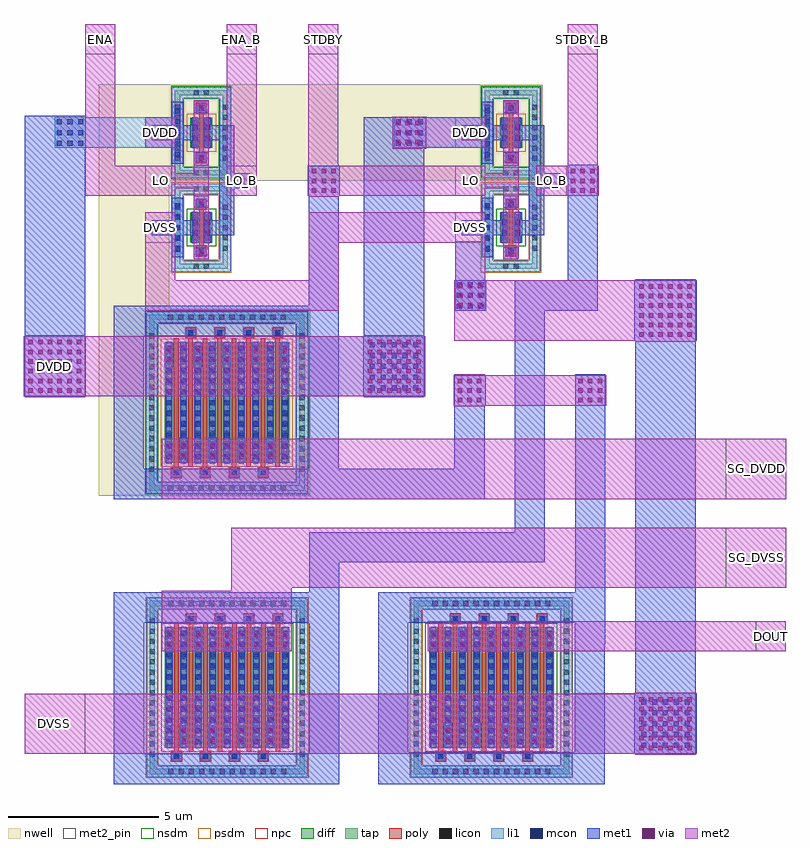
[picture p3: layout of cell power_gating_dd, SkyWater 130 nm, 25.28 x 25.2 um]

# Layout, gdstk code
import gdstk
lib = gdstk.Library(unit=1e-6, precision=1e-09)
def R(c, l, rs):  # rectangles x0, y0, x1, y1
    for r in rs: c.add(gdstk.rectangle(r[:2], r[2:], *l))
def A(c, l, x, y, w, h, nx, ny, dx, dy):  # array of equal rectangles
    R(c, l, [(x+i*dx, y+j*dy, x+i*dx+w, y+j*dy+h) for i in range(nx) for j in range(ny)])
nwell = (64, 20)
diff = (65, 20)
tap = (65, 44)
poly = (66, 20)
licon = (66, 44)
li1 = (67, 20)
mcon = (67, 44)
met1 = (68, 20)
via = (68, 44)
met2_pin = (69, 16)
met2 = (69, 20)
nsdm = (93, 44)
psdm = (94, 20)
npc = (95, 20)

power_gating_dd = lib.new_cell('power_gating_dd')
R(power_gating_dd, nwell, [(9,-22.25,10.5,-16.1), (10.5,-22.25,16.01,-16.06), (9,-16.1,11.35,-8.6), (11.35,-11.8,13.46,-8.61), (13.45,-11.8,21.62,-8.6), (21.62,-11.8,23.73,-8.61)])
R(power_gating_dd, diff, [(11.2,-30.6,15.33,-26.6), (19.96,-30.6,24.09,-26.6), (11.19,-21.155,15.32,-17.155), (12.04,-13.85,12.77,-12.85), (22.31,-13.85,23.04,-12.85), (12.04,-10.705,12.77,-9.705), (22.31,-10.705,23.04,-9.705)])
R(power_gating_dd, tap, [(10.69,-31.47,15.84,-31.3), (19.45,-31.47,24.6,-31.3), (10.69,-31.3,10.86,-25.9), (15.67,-31.3,15.84,-25.9), (19.45,-31.3,19.62,-25.9), (24.43,-31.3,24.6,-25.9), (10.69,-25.9,15.84,-25.73), (19.45,-25.9,24.6,-25.73), (10.68,-22.07,15.83,-21.9), (10.68,-21.9,10.85,-16.41), (15.66,-21.9,15.83,-16.41), (10.68,-16.41,15.83,-16.24), (11.53,-14.72,13.28,-14.55), (21.8,-14.72,23.55,-14.55), (11.53,-14.55,11.7,-12.15), (13.11,-14.55,13.28,-12.15), (21.8,-14.55,21.97,-12.15), (23.38,-14.55,23.55,-12.15), (11.53,-12.15,13.28,-11.98), (21.8,-12.15,23.55,-11.98), (11.53,-11.62,13.28,-11.45), (21.8,-11.62,23.55,-11.45), (11.53,-11.45,11.7,-8.96), (13.11,-11.45,13.28,-8.96), (21.8,-11.45,21.97,-8.96), (23.38,-11.45,23.55,-8.96), (11.53,-8.96,13.28,-8.79), (21.8,-8.96,23.55,-8.79)])
A(power_gating_dd, poly, 11.42, -31.04, 0.33, 0.33, 4, 1, 0.96, 0)
A(power_gating_dd, poly, 20.18, -31.04, 0.33, 0.33, 4, 1, 0.96, 0)
A(power_gating_dd, poly, 11.99, -30.73, 0.15, 4.24, 4, 1, 0.96, 0)
A(power_gating_dd, poly, 20.75, -30.73, 0.15, 4.24, 4, 1, 0.96, 0)
A(power_gating_dd, poly, 11.51, -30.71, 0.15, 4.24, 4, 1, 0.96, 0)
A(power_gating_dd, poly, 20.27, -30.71, 0.15, 4.24, 4, 1, 0.96, 0)
A(power_gating_dd, poly, 11.9, -26.49, 0.33, 0.33, 4, 1, 0.96, 0)
A(power_gating_dd, poly, 20.66, -26.49, 0.33, 0.33, 4, 1, 0.96, 0)
A(power_gating_dd, poly, 11.41, -21.64, 0.33, 0.33, 4, 1, 0.96, 0)
A(power_gating_dd, poly, 11.5, -21.31, 0.15, 4.285, 4, 1, 0.96, 0)
A(power_gating_dd, poly, 11.98, -21.285, 0.15, 4.285, 4, 1, 0.96, 0)
A(power_gating_dd, poly, 11.89, -17, 0.33, 0.33, 4, 1, 0.96, 0)
A(power_gating_dd, poly, 12.24, -14.29, 0.33, 0.33, 1, 3, 0, 1.55)
A(power_gating_dd, poly, 22.51, -14.29, 0.33, 0.33, 1, 3, 0, 1.55)
R(power_gating_dd, poly, [(12.33,-13.96,12.48,-12.74), (22.6,-13.96,22.75,-12.74), (12.33,-10.86,12.48,-9.55), (22.6,-10.86,22.75,-9.55), (12.24,-9.55,12.57,-9.22), (22.51,-9.55,22.84,-9.22)])
A(power_gating_dd, licon, 11.31, -31.47, 0.17, 0.17, 12, 2, 0.34, 5.57)
A(power_gating_dd, licon, 20.07, -31.47, 0.17, 0.17, 12, 2, 0.34, 5.57)
A(power_gating_dd, licon, 11.5, -30.96, 0.17, 0.17, 4, 1, 0.96, 0)
A(power_gating_dd, licon, 20.26, -30.96, 0.17, 0.17, 4, 1, 0.96, 0)
A(power_gating_dd, licon, 10.69, -30.895, 0.17, 0.17, 1, 14, 0, 0.34)
A(power_gating_dd, licon, 15.67, -30.895, 0.17, 0.17, 1, 14, 0, 0.34)
A(power_gating_dd, licon, 19.45, -30.895, 0.17, 0.17, 1, 14, 0, 0.34)
A(power_gating_dd, licon, 24.43, -30.895, 0.17, 0.17, 1, 14, 0, 0.34)
A(power_gating_dd, licon, 11.26, -30.385, 0.17, 0.17, 9, 11, 0.48, 0.34)
A(power_gating_dd, licon, 20.02, -30.385, 0.17, 0.17, 9, 11, 0.48, 0.34)
A(power_gating_dd, licon, 11.98, -26.41, 0.17, 0.17, 4, 1, 0.96, 0)
A(power_gating_dd, licon, 20.74, -26.41, 0.17, 0.17, 4, 1, 0.96, 0)
A(power_gating_dd, licon, 11.3, -22.07, 0.17, 0.17, 12, 2, 0.34, 5.66)
A(power_gating_dd, licon, 11.49, -21.56, 0.17, 0.17, 4, 1, 0.96, 0)
A(power_gating_dd, licon, 10.68, -21.45, 0.17, 0.17, 1, 14, 0, 0.34)
A(power_gating_dd, licon, 15.66, -21.45, 0.17, 0.17, 1, 14, 0, 0.34)
A(power_gating_dd, licon, 11.25, -20.94, 0.17, 0.17, 9, 11, 0.48, 0.34)
A(power_gating_dd, licon, 11.97, -16.92, 0.17, 0.17, 4, 1, 0.96, 0)
A(power_gating_dd, licon, 12.32, -14.21, 0.17, 0.17, 1, 3, 0, 1.55)
A(power_gating_dd, licon, 22.59, -14.21, 0.17, 0.17, 1, 3, 0, 1.55)
A(power_gating_dd, licon, 11.53, -14.115, 0.17, 0.17, 1, 5, 0, 0.34)
A(power_gating_dd, licon, 13.11, -14.115, 0.17, 0.17, 1, 5, 0, 0.34)
A(power_gating_dd, licon, 21.8, -14.115, 0.17, 0.17, 1, 5, 0, 0.34)
A(power_gating_dd, licon, 23.38, -14.115, 0.17, 0.17, 1, 5, 0, 0.34)
A(power_gating_dd, licon, 12.1, -13.775, 0.17, 0.17, 1, 3, 0, 0.34)
A(power_gating_dd, licon, 12.54, -13.775, 0.17, 0.17, 1, 3, 0, 0.34)
A(power_gating_dd, licon, 22.37, -13.775, 0.17, 0.17, 1, 3, 0, 0.34)
A(power_gating_dd, licon, 22.81, -13.775, 0.17, 0.17, 1, 3, 0, 0.34)
A(power_gating_dd, licon, 11.53, -11.14, 0.17, 0.17, 1, 6, 0, 0.34)
A(power_gating_dd, licon, 13.11, -11.14, 0.17, 0.17, 1, 6, 0, 0.34)
A(power_gating_dd, licon, 21.8, -11.14, 0.17, 0.17, 1, 6, 0, 0.34)
A(power_gating_dd, licon, 23.38, -11.14, 0.17, 0.17, 1, 6, 0, 0.34)
A(power_gating_dd, licon, 12.1, -10.63, 0.17, 0.17, 1, 3, 0, 0.34)
A(power_gating_dd, licon, 12.54, -10.63, 0.17, 0.17, 1, 3, 0, 0.34)
A(power_gating_dd, licon, 22.37, -10.63, 0.17, 0.17, 1, 3, 0, 0.34)
A(power_gating_dd, licon, 22.81, -10.63, 0.17, 0.17, 1, 3, 0, 0.34)
R(power_gating_dd, licon, [(12.15,-14.72,12.32,-14.55), (12.49,-14.72,12.66,-14.55), (22.42,-14.72,22.59,-14.55), (22.76,-14.72,22.93,-14.55), (12.15,-12.15,12.32,-11.98), (12.49,-12.15,12.66,-11.98), (22.42,-12.15,22.59,-11.98), (22.76,-12.15,22.93,-11.98), (12.15,-11.62,12.32,-11.45), (12.49,-11.62,12.66,-11.45), (22.42,-11.62,22.59,-11.45), (22.76,-11.62,22.93,-11.45), (12.32,-9.47,12.49,-9.3), (22.59,-9.47,22.76,-9.3), (12.15,-8.96,12.32,-8.79), (12.49,-8.96,12.66,-8.79), (22.42,-8.96,22.59,-8.79), (22.76,-8.96,22.93,-8.79)])
A(power_gating_dd, li1, 11.42, -30.96, 0.33, 0.17, 4, 1, 0.96, 0)
A(power_gating_dd, li1, 20.18, -30.96, 0.33, 0.17, 4, 1, 0.96, 0)
A(power_gating_dd, li1, 11.26, -30.62, 0.17, 4.04, 9, 1, 0.48, 0)
A(power_gating_dd, li1, 20.02, -30.62, 0.17, 4.04, 9, 1, 0.48, 0)
A(power_gating_dd, li1, 11.9, -26.41, 0.33, 0.17, 4, 1, 0.96, 0)
A(power_gating_dd, li1, 20.66, -26.41, 0.33, 0.17, 4, 1, 0.96, 0)
A(power_gating_dd, li1, 11.41, -21.56, 0.33, 0.17, 4, 1, 0.96, 0)
A(power_gating_dd, li1, 11.25, -21.175, 0.17, 4.04, 9, 1, 0.48, 0)
A(power_gating_dd, li1, 11.89, -16.92, 0.33, 0.17, 4, 1, 0.96, 0)
A(power_gating_dd, li1, 12.24, -14.21, 0.33, 0.17, 1, 3, 0, 1.55)
A(power_gating_dd, li1, 22.51, -14.21, 0.33, 0.17, 1, 3, 0, 1.55)
R(power_gating_dd, li1, [(10.62,-31.57,15.91,-31.54), (19.38,-31.57,24.67,-31.54), (10.59,-31.54,15.94,-31.2), (19.35,-31.54,24.7,-31.2), (10.69,-31.47,15.84,-31.3), (19.45,-31.47,24.6,-31.3), (10.69,-31.3,10.86,-25.9), (15.67,-31.3,15.84,-25.9), (19.45,-31.3,19.62,-25.9), (24.43,-31.3,24.6,-25.9), (10.59,-31.2,10.96,-26), (15.57,-31.2,15.94,-30.8), (19.35,-31.2,19.72,-30.8), (24.33,-31.2,24.7,-30.805), (24.33,-30.805,28.8,-28.795), (15.57,-30.8,19.72,-28.8), (15.57,-28.8,15.94,-26), (19.35,-28.8,19.72,-26), (24.33,-28.795,24.7,-26), (10.59,-26,15.94,-25.66), (19.35,-26,24.7,-25.66), (10.69,-25.9,15.84,-25.73), (19.45,-25.9,24.6,-25.73), (10.62,-25.66,15.91,-25.63), (19.38,-25.66,24.67,-25.63), (10.61,-22.17,15.9,-22.14), (10.58,-22.14,15.93,-21.8), (10.68,-22.07,15.83,-21.9), (10.68,-21.9,10.85,-16.41), (15.66,-21.9,15.83,-16.41), (10.58,-21.8,10.95,-16.51), (15.56,-21.8,15.93,-18.95), (15.56,-18.95,19.8,-16.95), (15.56,-16.95,15.93,-16.51), (10.58,-16.51,15.93,-16.17), (10.68,-16.41,15.83,-16.24), (10.61,-16.17,15.9,-16.14), (20.82,-16.1,21.82,-14.82), (11.46,-14.82,13.35,-14.79), (20.82,-14.82,23.62,-14.79), (11.43,-14.79,13.38,-14.45), (20.82,-14.79,23.65,-14.45), (11.53,-14.72,13.28,-14.55), (21.8,-14.72,23.55,-14.55), (11.53,-14.55,11.7,-12.15), (13.11,-14.55,13.28,-12.15), (21.8,-14.55,21.97,-12.15), (23.38,-14.55,23.55,-12.15), (11.43,-14.45,11.8,-12.25), (13.01,-14.45,13.38,-12.25), (20.82,-14.45,22.07,-13.8), (23.28,-14.45,23.65,-12.25), (11.53,-14.24,11.7,-12.46), (21.8,-14.24,21.97,-12.46), (12.1,-13.87,12.27,-12.83), (12.54,-13.87,12.71,-12.83), (22.37,-13.87,22.54,-12.83), (22.81,-13.87,22.98,-12.83), (21.7,-13.8,22.07,-12.25), (11.43,-12.25,13.38,-11.91), (21.7,-12.25,23.65,-11.91), (11.53,-12.15,13.28,-11.98), (21.8,-12.15,23.55,-11.98), (11.46,-11.91,13.35,-11.9), (21.73,-11.91,23.62,-11.9), (11.46,-11.7,13.35,-11.69), (21.73,-11.7,23.62,-11.69), (11.43,-11.69,13.38,-11.35), (21.7,-11.69,23.65,-11.35), (11.53,-11.62,13.28,-11.45), (21.8,-11.62,23.55,-11.45), (11.53,-11.45,11.7,-8.96), (13.11,-11.45,13.28,-8.96), (21.8,-11.45,21.97,-8.96), (23.38,-11.45,23.55,-8.96), (11.43,-11.35,11.8,-10.7), (13.01,-11.35,13.38,-9.06), (21.7,-11.35,22.07,-10.7), (23.28,-11.35,23.65,-9.06), (11.53,-11.14,11.7,-9.27), (21.8,-11.14,21.97,-9.27), (12.1,-10.725,12.27,-9.685), (12.54,-10.725,12.71,-9.685), (22.37,-10.725,22.54,-9.685), (22.81,-10.725,22.98,-9.685), (7.55,-10.7,11.8,-9.7), (18.8,-10.7,22.07,-9.7), (11.43,-9.7,11.8,-9.06), (21.7,-9.7,22.07,-9.06), (12.24,-9.47,12.57,-9.3), (22.51,-9.47,22.84,-9.3), (11.43,-9.06,13.38,-8.72), (21.7,-9.06,23.65,-8.72), (11.53,-8.96,13.28,-8.79), (21.8,-8.96,23.55,-8.79), (11.46,-8.72,13.35,-8.69), (21.73,-8.72,23.62,-8.69)])
A(power_gating_dd, mcon, 11.5, -30.96, 0.17, 0.17, 4, 1, 0.96, 0)
A(power_gating_dd, mcon, 20.26, -30.96, 0.17, 0.17, 4, 1, 0.96, 0)
A(power_gating_dd, mcon, 26.99, -30.605, 0.17, 0.17, 5, 5, 0.36, 0.36)
A(power_gating_dd, mcon, 11.26, -30.485, 0.17, 0.17, 9, 11, 0.48, 0.36)
A(power_gating_dd, mcon, 20.02, -30.485, 0.17, 0.17, 9, 11, 0.48, 0.36)
A(power_gating_dd, mcon, 11.98, -26.41, 0.17, 0.17, 4, 1, 0.96, 0)
A(power_gating_dd, mcon, 20.74, -26.41, 0.17, 0.17, 4, 1, 0.96, 0)
A(power_gating_dd, mcon, 11.49, -21.56, 0.17, 0.17, 4, 1, 0.96, 0)
A(power_gating_dd, mcon, 11.25, -21.04, 0.17, 0.17, 9, 11, 0.48, 0.36)
A(power_gating_dd, mcon, 17.995, -18.755, 0.17, 0.17, 5, 5, 0.36, 0.36)
A(power_gating_dd, mcon, 11.97, -16.92, 0.17, 0.17, 4, 1, 0.96, 0)
A(power_gating_dd, mcon, 20.875, -16.045, 0.17, 0.17, 3, 3, 0.36, 0.36)
A(power_gating_dd, mcon, 12.32, -14.21, 0.17, 0.17, 1, 3, 0, 1.55)
A(power_gating_dd, mcon, 22.59, -14.21, 0.17, 0.17, 1, 3, 0, 1.55)
A(power_gating_dd, mcon, 11.53, -14.155, 0.17, 0.17, 1, 5, 0, 0.36)
A(power_gating_dd, mcon, 21.8, -14.155, 0.17, 0.17, 1, 5, 0, 0.36)
A(power_gating_dd, mcon, 11.53, -11.01, 0.17, 0.17, 1, 5, 0, 0.36)
A(power_gating_dd, mcon, 21.8, -11.01, 0.17, 0.17, 1, 5, 0, 0.36)
A(power_gating_dd, mcon, 7.605, -10.645, 0.17, 0.17, 3, 3, 0.36, 0.36)
A(power_gating_dd, mcon, 18.855, -10.645, 0.17, 0.17, 3, 3, 0.36, 0.36)
R(power_gating_dd, mcon, [(12.1,-13.615,12.27,-13.445), (12.54,-13.615,12.71,-13.445), (22.37,-13.615,22.54,-13.445), (22.81,-13.615,22.98,-13.445), (12.1,-13.255,12.27,-13.085), (12.54,-13.255,12.71,-13.085), (22.37,-13.255,22.54,-13.085), (22.81,-13.255,22.98,-13.085), (12.1,-10.47,12.27,-10.3), (12.54,-10.47,12.71,-10.3), (22.37,-10.47,22.54,-10.3), (22.81,-10.47,22.98,-10.3), (12.1,-10.11,12.27,-9.94), (12.54,-10.11,12.71,-9.94), (22.37,-10.11,22.54,-9.94), (22.81,-10.11,22.98,-9.94), (12.32,-9.47,12.49,-9.3), (22.59,-9.47,22.76,-9.3)])
A(power_gating_dd, met1, 11.44, -30.99, 0.29, 0.23, 4, 1, 0.96, 0)
A(power_gating_dd, met1, 20.2, -30.99, 0.29, 0.23, 4, 1, 0.96, 0)
A(power_gating_dd, met1, 11.23, -30.6, 0.23, 4, 9, 1, 0.48, 0)
A(power_gating_dd, met1, 19.99, -30.6, 0.23, 4, 9, 1, 0.48, 0)
A(power_gating_dd, met1, 11.69, -30.59, 0.27, 0.82, 4, 1, 0.96, 0)
A(power_gating_dd, met1, 20.45, -30.59, 0.27, 0.82, 4, 1, 0.96, 0)
A(power_gating_dd, met1, 11.21, -27.43, 0.27, 0.82, 5, 1, 0.96, 0)
A(power_gating_dd, met1, 19.97, -27.43, 0.27, 0.82, 5, 1, 0.96, 0)
A(power_gating_dd, met1, 11.92, -26.44, 0.29, 0.23, 4, 1, 0.96, 0)
A(power_gating_dd, met1, 20.68, -26.44, 0.29, 0.23, 4, 1, 0.96, 0)
A(power_gating_dd, met1, 11.43, -21.59, 0.29, 0.23, 4, 1, 0.96, 0)
A(power_gating_dd, met1, 11.22, -21.155, 0.23, 4, 9, 1, 0.48, 0)
A(power_gating_dd, met1, 11.68, -21.145, 0.27, 0.82, 4, 1, 0.96, 0)
A(power_gating_dd, met1, 11.2, -17.985, 0.27, 0.82, 5, 1, 0.96, 0)
A(power_gating_dd, met1, 11.91, -16.95, 0.29, 0.23, 4, 1, 0.96, 0)
A(power_gating_dd, met1, 12.26, -14.24, 0.29, 0.23, 1, 3, 0, 1.55)
A(power_gating_dd, met1, 22.53, -14.24, 0.29, 0.23, 1, 3, 0, 1.55)
R(power_gating_dd, met1, [(9.5,-31.8,16.98,-30.8), (18.27,-31.8,25.79,-30.75), (26.79,-30.83,27.79,-30.805), (26.76,-30.805,28.83,-28.795), (9.51,-30.8,10.51,-26.45), (15.98,-30.8,16.98,-26.45), (18.27,-30.75,19.27,-26.45), (24.79,-30.75,25.79,-27.15), (26.79,-28.795,28.8,-17.105), (24.79,-27.15,25.8,-26.45), (9.51,-26.45,16.98,-25.45), (18.27,-26.45,25.8,-25.45), (15.98,-25.45,16.98,-24.45), (24.8,-25.45,25.8,-18.22), (15.98,-24.45,23.8,-23.45), (22.8,-23.45,23.8,-16.1), (9.5,-22.35,21.8,-21.35), (9.5,-21.35,10.5,-16.95), (15.97,-21.35,16.97,-16.95), (20.8,-21.35,21.8,-19.25), (20.77,-19.25,21.83,-18.25), (6.52,-18.95,8.58,-16.95), (17.77,-18.95,19.83,-16.95), (26.76,-17.105,28.83,-15.095), (6.55,-16.95,8.55,-10.76), (9.5,-16.95,16.97,-15.95), (17.8,-16.95,19.8,-10.73), (20.79,-16.1,21.85,-15.1), (22.8,-16.1,25.55,-15.1), (15.97,-15.95,16.97,-12.3), (24.55,-15.1,25.55,-11.27), (12.15,-14.4,12.65,-14), (22.42,-14.4,22.92,-14), (11.43,-14.34,11.8,-13.6), (21.7,-14.34,22.07,-13.6), (12.07,-13.85,12.3,-12.85), (12.51,-13.85,12.74,-12.85), (22.34,-13.85,22.57,-12.85), (22.78,-13.85,23.01,-12.85), (10.77,-13.6,12.25,-13.1), (12.55,-13.6,13.5,-13.1), (21.04,-13.6,22.52,-13.1), (22.82,-13.6,23.77,-13.1), (11.43,-13.1,11.8,-12.36), (13,-13.1,13.5,-12.05), (21.7,-13.1,22.07,-12.36), (23.27,-13.1,23.77,-12.05), (12.15,-12.7,12.65,-12.3), (22.42,-12.7,22.92,-12.3), (15.94,-12.3,17,-11.3), (13,-12.05,14.03,-11.55), (23.27,-12.05,24.3,-11.55), (13,-11.55,13.5,-10.455), (23.27,-11.55,23.77,-10.455), (12.15,-11.3,12.65,-10.85), (22.42,-11.3,22.92,-10.85), (11.43,-11.24,11.8,-10.45), (21.7,-11.24,22.07,-10.45), (6.55,-10.76,8.58,-9.65), (17.8,-10.73,19.86,-9.7), (12.07,-10.705,12.3,-9.705), (12.51,-10.705,12.74,-9.705), (22.34,-10.705,22.57,-9.705), (22.78,-10.705,23.01,-9.705), (12.1,-10.455,12.25,-10.45), (12.55,-10.455,13.5,-9.955), (22.37,-10.455,22.52,-10.45), (22.82,-10.455,23.77,-9.955), (10.77,-10.45,12.25,-9.955), (21.04,-10.45,22.52,-9.955), (10.77,-9.955,12.15,-9.95), (21.04,-9.955,22.42,-9.95), (11.43,-9.95,11.8,-9.17), (21.7,-9.95,22.07,-9.17), (18.74,-9.7,19.86,-9.67), (7.52,-9.65,8.58,-9.64), (12.15,-9.55,12.65,-9.15), (22.42,-9.55,22.92,-9.15), (12.26,-9.5,12.55,-9.27), (22.53,-9.5,22.82,-9.27)])
A(power_gating_dd, via, 26.92, -30.675, 0.15, 0.15, 6, 6, 0.32, 0.32)
A(power_gating_dd, via, 11.75, -30.415, 0.15, 0.15, 4, 2, 0.96, 0.32)
A(power_gating_dd, via, 20.51, -30.415, 0.15, 0.15, 4, 2, 0.96, 0.32)
A(power_gating_dd, via, 11.27, -27.255, 0.15, 0.15, 5, 2, 0.96, 0.32)
A(power_gating_dd, via, 20.03, -27.255, 0.15, 0.15, 5, 2, 0.96, 0.32)
A(power_gating_dd, via, 11.74, -20.97, 0.15, 0.15, 4, 2, 0.96, 0.32)
A(power_gating_dd, via, 20.905, -19.145, 0.15, 0.15, 3, 3, 0.32, 0.32)
A(power_gating_dd, via, 24.905, -19.145, 0.15, 0.15, 3, 3, 0.32, 0.32)
A(power_gating_dd, via, 6.675, -18.825, 0.15, 0.15, 6, 6, 0.32, 0.32)
A(power_gating_dd, via, 17.925, -18.825, 0.15, 0.15, 6, 6, 0.32, 0.32)
A(power_gating_dd, via, 11.26, -17.81, 0.15, 0.15, 5, 2, 0.96, 0.32)
A(power_gating_dd, via, 26.92, -16.975, 0.15, 0.15, 6, 6, 0.32, 0.32)
A(power_gating_dd, via, 20.925, -15.995, 0.15, 0.15, 3, 3, 0.32, 0.32)
A(power_gating_dd, via, 16.075, -12.195, 0.15, 0.15, 3, 3, 0.32, 0.32)
A(power_gating_dd, via, 24.655, -12.195, 0.15, 0.15, 3, 3, 0.32, 0.32)
A(power_gating_dd, via, 18.855, -10.595, 0.15, 0.15, 3, 3, 0.32, 0.32)
R(power_gating_dd, via, [(12.325,-14.275,12.475,-14.125), (22.595,-14.275,22.745,-14.125), (10.975,-13.425,11.125,-13.275), (21.245,-13.425,21.395,-13.275), (12.325,-12.575,12.475,-12.425), (22.595,-12.575,22.745,-12.425), (13.675,-11.875,13.825,-11.725), (23.945,-11.875,24.095,-11.725), (12.325,-11.15,12.475,-11), (22.595,-11.15,22.745,-11), (10.975,-10.275,11.125,-10.125), (21.245,-10.275,21.395,-10.125), (12.325,-9.425,12.475,-9.275), (22.595,-9.425,22.745,-9.275)])
R(power_gating_dd, met2_pin, [(6.55,-30.8,8.55,-28.8), (30.79,-27.4,31.79,-26.4), (29.8,-25.3,31.8,-23.3), (29.8,-22.35,31.8,-20.35), (6.55,-18.95,8.55,-16.95), (10.55,-13.85,11.55,-12.85), (20.82,-13.85,21.82,-12.85), (10.55,-12.3,11.55,-11.3), (13.25,-12.3,14.25,-11.3), (20.82,-12.3,21.82,-11.3), (23.52,-12.3,24.52,-11.3), (10.55,-10.7,11.55,-9.7), (20.82,-10.7,21.82,-9.7), (8.55,-7.6,9.55,-6.6), (13.25,-7.6,14.25,-6.6), (15.95,-7.6,16.95,-6.6), (24.55,-7.6,25.55,-6.6)])
R(power_gating_dd, met2, [(26.8,-30.83,28.8,-30.8), (6.55,-30.8,28.8,-28.8), (26.8,-28.8,28.8,-28.77), (11.1,-27.4,15.4,-25.4), (19.92,-27.4,31.79,-26.4), (13.4,-25.4,15.4,-25.3), (13.4,-25.3,31.8,-23.3), (11.1,-22.35,31.8,-20.35), (20.8,-19.28,21.8,-19.25), (20.8,-19.25,25.83,-18.25), (6.55,-18.98,8.55,-18.95), (17.8,-18.98,19.8,-18.95), (6.55,-18.95,19.8,-16.95), (20.8,-18.25,21.8,-18.22), (26.79,-17.135,28.8,-17.105), (20.795,-17.105,28.8,-15.095), (6.55,-16.95,8.55,-16.92), (17.8,-16.95,19.8,-16.92), (10.55,-16.1,16.97,-15.1), (10.55,-15.1,11.55,-12.85), (15.97,-15.1,16.97,-13.85), (20.82,-15.095,21.82,-13.85), (26.79,-15.095,28.8,-15.065), (12.15,-14.4,12.65,-14.375), (22.42,-14.4,22.92,-14.375), (12.15,-14.375,12.655,-14), (22.42,-14.375,22.925,-14), (12.155,-14,12.655,-12.05), (22.425,-14,22.925,-12.05), (10.55,-13.85,11.55,-12.85), (15.97,-13.85,21.82,-12.85), (20.82,-13.85,21.82,-12.85), (15.97,-12.33,16.97,-12.3), (8.55,-12.3,11.55,-11.3), (10.55,-12.3,11.55,-12.05), (13.25,-12.3,14.25,-11.3), (13.25,-12.3,14.25,-6.6), (15.95,-12.3,21.82,-11.3), (20.82,-12.3,21.82,-12.05), (23.52,-12.3,25.58,-11.3), (23.52,-12.3,24.52,-11.3), (10.55,-12.05,12.655,-11.55), (20.82,-12.05,22.925,-11.55), (10.55,-11.55,11.55,-11.3), (12.155,-11.55,12.655,-9.135), (20.82,-11.55,21.82,-11.3), (22.425,-11.55,22.925,-9.135), (8.55,-11.3,9.55,-6.6), (15.95,-11.3,16.97,-11.27), (24.55,-11.3,25.55,-6.6), (15.95,-11.27,16.95,-6.6), (18.75,-10.73,19.75,-10.7), (10.55,-10.7,11.55,-9.7), (10.55,-10.7,11.55,-9.7), (18.75,-10.7,21.77,-9.7), (20.82,-10.7,21.82,-9.7), (18.75,-9.7,19.75,-9.67)])
R(power_gating_dd, nsdm, [(11.075,-30.725,15.455,-26.475), (19.835,-30.725,24.215,-26.475), (10.555,-22.195,15.955,-21.775), (10.555,-21.775,10.975,-16.535), (15.535,-21.775,15.955,-16.535), (10.555,-16.535,15.955,-16.115), (11.915,-13.975,12.895,-12.725), (22.185,-13.975,23.165,-12.725), (11.405,-11.745,13.405,-11.325), (21.675,-11.745,23.675,-11.325), (11.405,-11.325,11.825,-9.085), (12.985,-11.325,13.405,-9.085), (21.675,-11.325,22.095,-9.085), (23.255,-11.325,23.675,-9.085), (11.405,-9.085,13.405,-8.665), (21.675,-9.085,23.675,-8.665)])
R(power_gating_dd, psdm, [(10.565,-31.595,15.965,-31.175), (19.325,-31.595,24.725,-31.175), (10.565,-31.175,10.985,-26.025), (15.545,-31.175,15.965,-26.025), (19.325,-31.175,19.745,-26.025), (24.305,-31.175,24.725,-26.025), (10.565,-26.025,15.965,-25.605), (19.325,-26.025,24.725,-25.605), (11.065,-21.28,15.445,-17.03), (11.405,-14.845,13.405,-14.425), (21.675,-14.845,23.675,-14.425), (11.405,-14.425,11.825,-12.275), (12.985,-14.425,13.405,-12.275), (21.675,-14.425,22.095,-12.275), (23.255,-14.425,23.675,-12.275), (11.405,-12.275,13.405,-11.855), (21.675,-12.275,23.675,-11.855), (11.915,-10.83,12.895,-9.58), (22.185,-10.83,23.165,-9.58)])
A(power_gating_dd, npc, 11.4, -31.06, 0.37, 0.37, 4, 1, 0.96, 0)
A(power_gating_dd, npc, 20.16, -31.06, 0.37, 0.37, 4, 1, 0.96, 0)
A(power_gating_dd, npc, 11.88, -26.51, 0.37, 0.37, 4, 1, 0.96, 0)
A(power_gating_dd, npc, 20.64, -26.51, 0.37, 0.37, 4, 1, 0.96, 0)
A(power_gating_dd, npc, 11.39, -21.66, 0.37, 0.37, 4, 1, 0.96, 0)
A(power_gating_dd, npc, 11.87, -17.02, 0.37, 0.37, 4, 1, 0.96, 0)
A(power_gating_dd, npc, 12.22, -14.31, 0.37, 0.37, 1, 3, 0, 1.55)
A(power_gating_dd, npc, 22.49, -14.31, 0.37, 0.37, 1, 3, 0, 1.55)
R(power_gating_dd, npc, [(12.22,-9.57,12.59,-9.2), (22.49,-9.57,22.86,-9.2)])
power_gating_dd.add(gdstk.Label('SG_DVSS', (30.8,-24.3), layer=69, texttype=5))
power_gating_dd.add(gdstk.Label('STDBY', (16.45,-7.1), layer=69, texttype=5))
power_gating_dd.add(gdstk.Label('DOUT', (31.29,-26.9), layer=69, texttype=5))
power_gating_dd.add(gdstk.Label('ENA_B', (13.75,-7.1), layer=69, texttype=5))
power_gating_dd.add(gdstk.Label('ENA', (9.05,-7.1), layer=69, texttype=5))
power_gating_dd.add(gdstk.Label('STDBY_B', (25.05,-7.1), layer=69, texttype=5))
power_gating_dd.add(gdstk.Label('LO_B', (13.75,-11.8), layer=69, texttype=5))
power_gating_dd.add(gdstk.Label('LO_B', (24.02,-11.8), layer=69, texttype=5))
power_gating_dd.add(gdstk.Label('LO', (11.05,-11.8), layer=69, texttype=5))
power_gating_dd.add(gdstk.Label('LO', (21.32,-11.8), layer=69, texttype=5))
power_gating_dd.add(gdstk.Label('DVDD', (7.55,-17.95), layer=69, texttype=5))
power_gating_dd.add(gdstk.Label('DVDD', (11.05,-10.2), layer=69, texttype=5))
power_gating_dd.add(gdstk.Label('DVDD', (21.32,-10.2), layer=69, texttype=5))
power_gating_dd.add(gdstk.Label('SG_DVDD', (30.8,-21.35), layer=69, texttype=5))
power_gating_dd.add(gdstk.Label('DVSS', (7.55,-29.8), layer=69, texttype=5))
power_gating_dd.add(gdstk.Label('DVSS', (11.05,-13.35), layer=69, texttype=5))
power_gating_dd.add(gdstk.Label('DVSS', (21.32,-13.35), layer=69, texttype=5))

lib.write_gds('power_gating_dd.gds')
